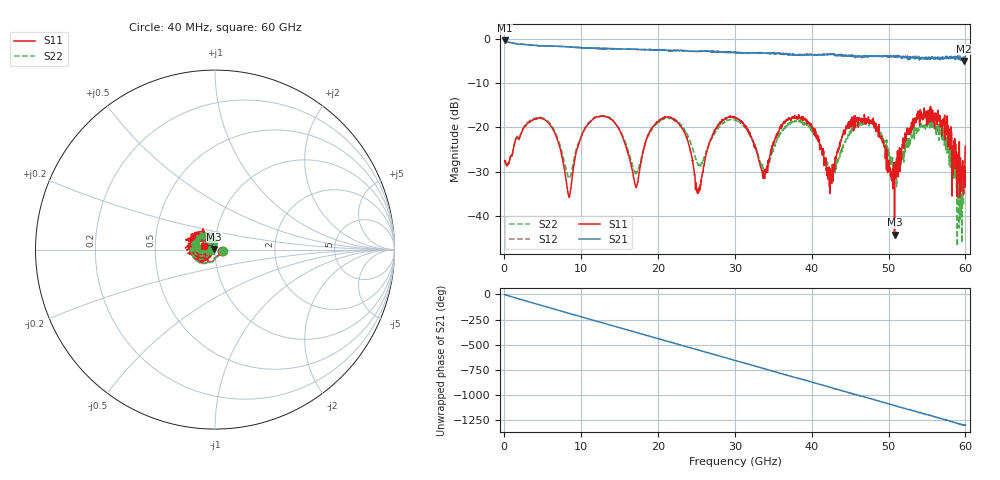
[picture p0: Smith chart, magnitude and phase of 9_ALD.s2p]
! File created by 'SoftPlot +Plus+ Measurement Management Software'
! SoftPlot +Plus+ Measurement Management Software
! Start 40.000000 MHz  Stop 60.000000 GHz  Points 1601
# MHZ S RI R 50
! S-Parameter data, F S11 S21 S12 S22
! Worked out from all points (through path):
!   1601 points, 40 MHz to 60 GHz, reference 50 ohm
!   highest |S21| = -0.41 dB at 40 MHz (marker M1); lowest = -5.0 dB at 59.85 GHz (marker M2)
!   group delay of S21, straight-line fit = 60.1 ps
!   lowest |S11| = -44.2 dB at 50.78 GHz (marker M3), VSWR 1.01, Z = 49.5 + j0.32 ohm
!   |S11| at or under -10 dB: start of sweep to end of sweep
!   |S22| runs from -46.8 to -17.4 dB; largest |S21 - S12| = 0.078
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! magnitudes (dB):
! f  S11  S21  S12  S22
! 40 MHz  -27.8  -0.4  -0.4  -27.4
! 5.062 GHz  -18.1  -1.6  -1.6  -18.0
! 8.434 GHz  -35.4  -1.9  -1.8  -31.2
! 10.05 GHz  -22.0  -2.1  -2.0  -21.9
! 14.02 GHz  -18.3  -2.3  -2.3  -18.1
! 17.17 GHz  -33.6  -2.4  -2.4  -30.4
! 20.05 GHz  -18.6  -2.6  -2.5  -18.9
! 23.24 GHz  -20.5  -2.7  -2.7  -20.0
! 25.19 GHz  -34.9  -2.9  -2.9  -28.2
! 27.36 GHz  -20.6  -3.0  -2.8  -21.4
! 30.02 GHz  -17.6  -3.1  -3.0  -18.3
! 33.84 GHz  -31.2  -3.2  -3.2  -29.8
! 36.54 GHz  -18.7  -3.4  -3.4  -19.8
! 40.03 GHz  -19.9  -3.6  -3.7  -20.2
! 42.31 GHz  -33.5  -3.5  -3.6  -30.7
! 46.62 GHz  -19.0  -4.0  -3.9  -19.4
! 50.03 GHz  -28.1  -4.1  -4.0  -25.2
! 50.78 GHz  -44.2  -4.1  -3.8  -30.8
! 54.38 GHz  -17.8  -4.4  -4.2  -19.8
! 59.25 GHz  -35.9  -4.2  -4.4  -37.4
! 59.85 GHz  -32.8  -5.0  -4.1  -31.2
! 60 GHz  -24.2  -4.0  -4.9  -33.6
